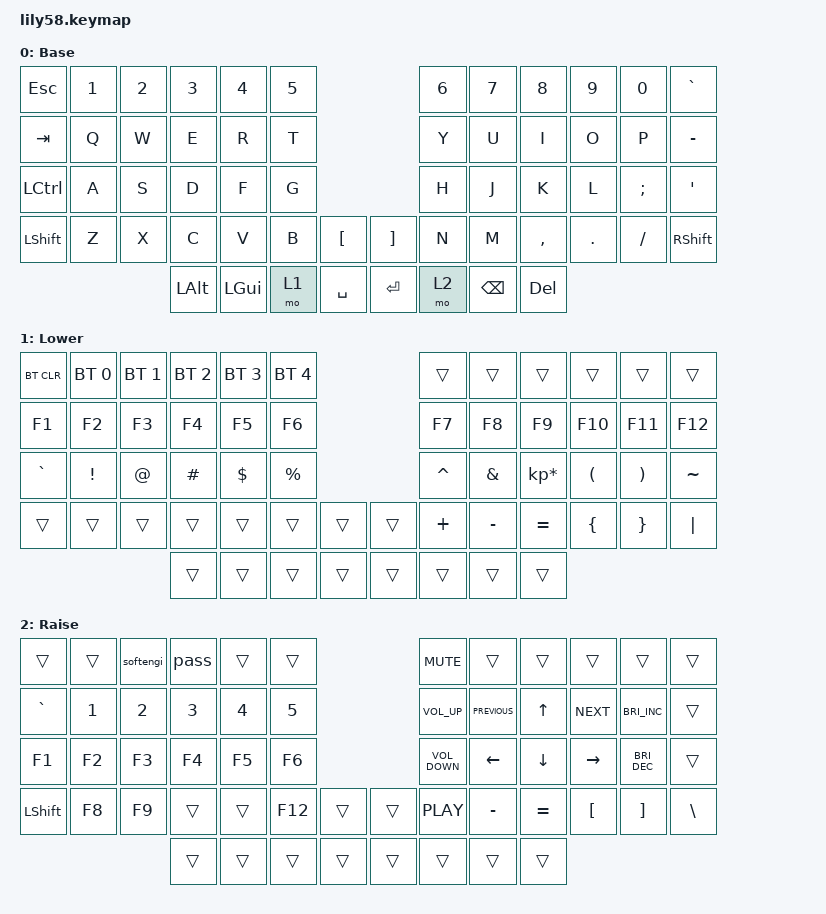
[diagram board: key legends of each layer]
/*
 * Copyright (c) 2020 The ZMK Contributors
 *
 * SPDX-License-Identifier: MIT
 */

#include <behaviors.dtsi>
#include <dt-bindings/zmk/bt.h>
#include <dt-bindings/zmk/keys.h>

/ {
    macros {
        pass: pass {
            compatible = "zmk,behavior-macro";
            #binding-cells = <0>;
            bindings = <&kp T &kp H &kp E &kp E &kp G &kp A &kp N3 &kp N5 &kp N7>;
            label = "PASS";
        };

        softengi: softengi {
            compatible = "zmk,behavior-macro";
            #binding-cells = <0>;
            bindings = <&kp LS(S) &kp O &kp F &kp T &kp E &kp N &kp G &kp I &kp N2 &kp N0 &kp N2 &kp N4>;
            label = "SOFTENGI";
        };
    };

    keymap {
        compatible = "zmk,keymap";

        default_layer {
            // ------------------------------------------------------------------------------------------------------------
            // |  ESC  |  1  |  2  |  3   |  4   |  5   |                   |  6   |  7    |  8    |  9   |   0   |   `   |
            // |  TAB  |  Q  |  W  |  E   |  R   |  T   |                   |  Y   |  U    |  I    |  O   |   P   |   -   |
            // |  CTRL |  A  |  S  |  D   |  F   |  G   |                   |  H   |  J    |  K    |  L   |   ;   |   '   |
            // | SHIFT |  Z  |  X  |  C   |  V   |  B   |   "["  |  |  "]"  |  N   |  M    |  ,    |  .   |   /   | SHIFT |
            //                     | ALT  | GUI  | LOWER|  SPACE |  | ENTER | RAISE| BSPC  | GUI   |

            display-name = "Base";
            bindings = <
&kp ESC    &kp N1  &kp N2  &kp N3    &kp N4    &kp N5                         &kp N6  &kp N7    &kp N8      &kp N9   &kp N0    &kp GRAVE
&kp TAB    &kp Q   &kp W   &kp E     &kp R     &kp T                          &kp Y   &kp U     &kp I       &kp O    &kp P     &kp MINUS
&kp LCTRL  &kp A   &kp S   &kp D     &kp F     &kp G                          &kp H   &kp J     &kp K       &kp L    &kp SEMI  &kp SQT
&kp LSHFT  &kp Z   &kp X   &kp C     &kp V     &kp B   &kp LBKT     &kp RBKT  &kp N   &kp M     &kp COMMA   &kp DOT  &kp FSLH  &kp RSHFT
                           &kp LALT  &kp LGUI  &mo 1   &kp SPACE    &kp RET   &mo 2   &kp BSPC  &kp DELETE
            >;
        };

        lower_layer {
            // ------------------------------------------------------------------------------------------------------------
            // | BTCLR | BT1 | BT2 |  BT3 |  BT4 |  BT5 |                   |      |       |       |      |       |       |
            // |  F1   |  F2 |  F3 |  F4  |  F5  |  F6  |                   |  F7  |  F8   |  F9   |  F10 |  F11  |  F12  |
            // |   `   |  !  |  @  |  #   |  $   |  %   |                   |  ^   |  &    |  *    |  (   |   )   |   ~   |
            // |       |     |     |      |      |      |        |  |       |      |  _    |  +    |  {   |   }   |  "|"  |
            //                     |      |      |      |        |  |       |      |       |       |

            display-name = "Lower";
            bindings = <
&bt BT_CLR  &bt BT_SEL 0  &bt BT_SEL 1  &bt BT_SEL 2  &bt BT_SEL 3  &bt BT_SEL 4                    &trans     &trans     &trans           &trans    &trans    &trans
&kp F1      &kp F2        &kp F3        &kp F4        &kp F5        &kp F6                          &kp F7     &kp F8     &kp F9           &kp F10   &kp F11   &kp F12
&kp GRAVE   &kp EXCL      &kp AT        &kp HASH      &kp DOLLAR    &kp PRCNT                       &kp CARET  &kp AMPS   &kp KP_MULTIPLY  &kp LPAR  &kp RPAR  &kp TILDE
&trans      &trans        &trans        &trans        &trans        &trans        &trans    &trans  &kp PLUS   &kp MINUS  &kp EQUAL        &kp LBRC  &kp RBRC  &kp PIPE
                                        &trans        &trans        &trans        &trans    &trans  &trans     &trans     &trans
            >;
        };

        raise_layer {
            // ------------------------------------------------------------------------------------------------------------
            // |       |     |     |      |      |      |                   |      |       |       |      |       |       |
            // |   `   |  1  |  2  |  3   |  4   |  5   |                   |  6   |   7   |   8   |  9   |   0   |       |
            // |   F1  |  F2 |  F3 |  F4  |  F5  |  F6  |                   |      |   <-  |   v   |  ^   |  ->   |       |
            // |   F7  |  F8 |  F9 |  F10 |  F11 |  F12 |        |  |       |  +   |   -   |   =   |  [   |   ]   |   \   |
            //                     |      |      |      |        |  |       |      |       |       |

            display-name = "Raise";
            bindings = <
&trans          &trans  &softengi  &pass   &trans  &trans                     &kp K_MUTE         &trans          &trans          &trans           &trans                &trans
&kp GRAVE       &kp N1  &kp N2     &kp N3  &kp N4  &kp N5                     &kp C_VOLUME_UP    &kp C_PREVIOUS  &kp UP_ARROW    &kp C_NEXT       &kp C_BRIGHTNESS_INC  &trans
&kp F1          &kp F2  &kp F3     &kp F4  &kp F5  &kp F6                     &kp C_VOLUME_DOWN  &kp LEFT_ARROW  &kp DOWN_ARROW  &kp RIGHT_ARROW  &kp C_BRIGHTNESS_DEC  &trans
&kp LEFT_SHIFT  &kp F8  &kp F9     &trans  &trans  &kp F12  &trans    &trans  &kp C_PLAY         &kp MINUS       &kp EQUAL       &kp LBKT         &kp RBKT              &kp BSLH
                                   &trans  &trans  &trans   &trans    &trans  &trans             &trans          &trans
            >;
        };
    };
};
